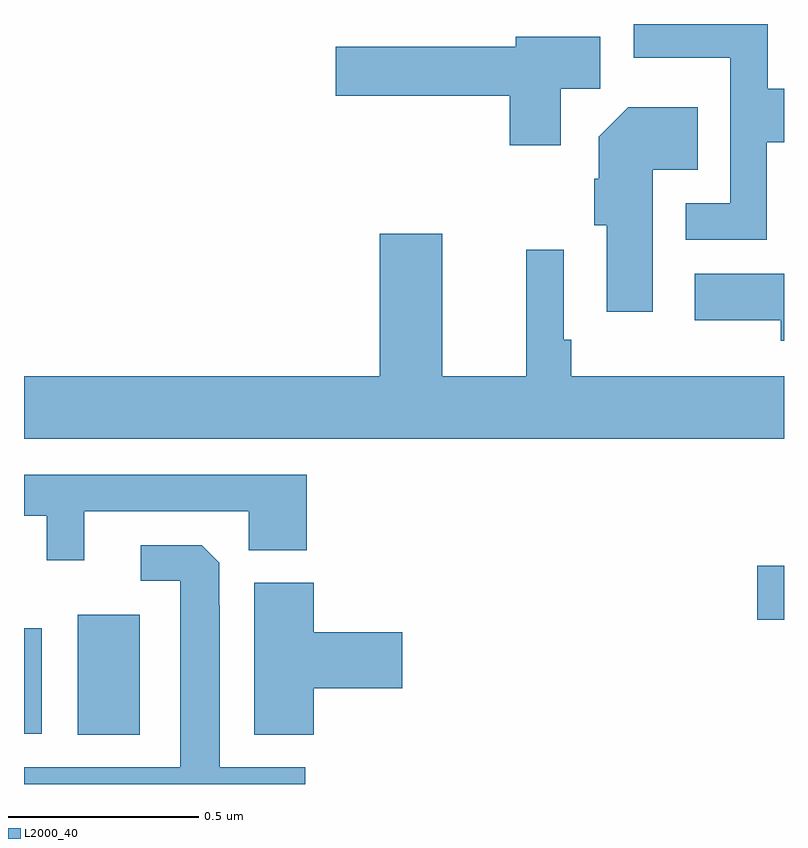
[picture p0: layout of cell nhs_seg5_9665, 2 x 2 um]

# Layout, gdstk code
import gdstk
lib = gdstk.Library(unit=1e-6, precision=1e-09)
def R(c, l, rs):  # rectangles x0, y0, x1, y1
    for r in rs: c.add(gdstk.rectangle(r[:2], r[2:], *l))
def P(c, l, *ps):  # polygons
    for p in ps: c.add(gdstk.Polygon(p, *l))
L2000_40 = (2000, 40)

nhs_seg5_9665 = lib.new_cell('nhs_seg5_9665')
R(nhs_seg5_9665, L2000_40, [(236.141,907.928,236.305,908.245), (236,907.931,236.047,908.209), (237.93,908.231,238,908.373)])
P(nhs_seg5_9665, L2000_40, [(237.954,909.488),(238,909.488),(238,909.628),(237.957,909.628),(237.957,909.799),(237.605,909.799),(237.605,909.71),(237.858,909.71),(237.858,909.327),(237.741,909.327),(237.741,909.231),(237.954,909.231)],
  [(237.412,909.628),(237.517,909.628),(237.517,909.766),(237.294,909.766),(237.294,909.739),(236.82,909.739),(236.82,909.61),(237.278,909.61),(237.278,909.48),(237.412,909.48)],
  [(237.655,909.416),(237.773,909.416),(237.773,909.58),(237.59,909.58),(237.512,909.502),(237.512,909.392),(237.5,909.392),(237.5,909.27),(237.533,909.27),(237.533,909.042),(237.655,909.042)],
  [(238,908.872),(237.44,908.872),(237.44,908.968),(237.42,908.968),(237.42,909.205),(237.322,909.205),(237.322,908.872),(237.1,908.872),(237.1,909.247),(236.936,909.247),(236.936,908.872),(236,908.872),(236,908.708),(238,908.708)],
  [(238,909.142),(237.765,909.142),(237.765,909.02),(237.992,909.02),(237.992,908.966),(238,908.966)],
  [(236.158,908.517),(236.592,908.517),(236.592,908.414),(236.744,908.414),(236.744,908.613),(236,908.613),(236,908.505),(236.06,908.505),(236.06,908.388),(236.158,908.388)],
  [(236.74,907.843),(236.515,907.843),(236.515,908.27),(236.514,908.27),(236.514,908.381),(236.468,908.427),(236.307,908.427),(236.307,908.334),(236.411,908.334),(236.411,907.843),(236,907.843),(236,907.799),(236.74,907.799)],
  [(236.762,908.051),(236.995,908.051),(236.995,908.198),(236.762,908.198),(236.762,908.329),(236.606,908.329),(236.606,907.928),(236.762,907.928)])

lib.write_gds('nhs_seg5_9665.gds')
